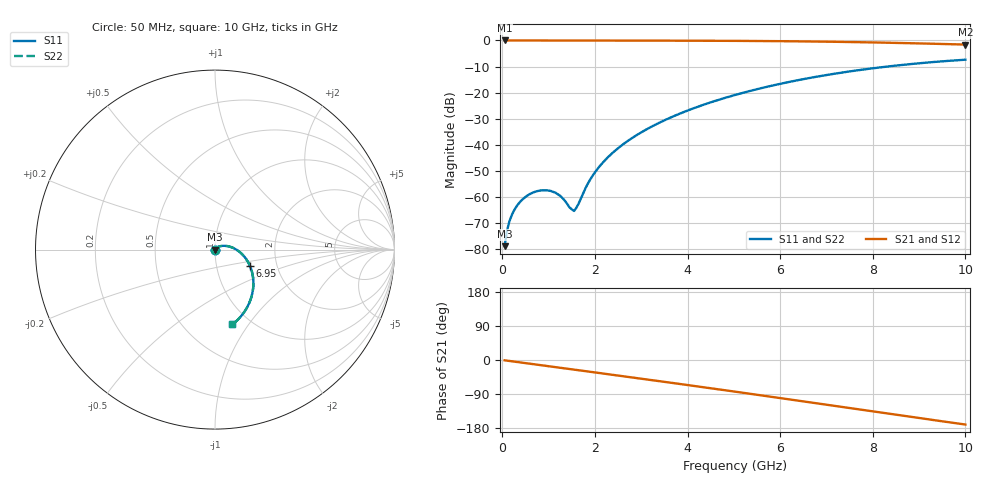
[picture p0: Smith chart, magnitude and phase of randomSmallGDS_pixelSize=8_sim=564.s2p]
! freq	dB(S11)	phase(S11)	dB(S12)	phase(S12)
!  dB(S21)	phase(S21)	dB(S22)	phase(S22)
!S-par simulation data
#  GHz  S  DB  R 50
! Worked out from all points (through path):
!   200 points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, 50 MHz to 10 GHz, reference 50 ohm
!   highest |S21| = 0.00 dB at 50 MHz (marker M1); lowest = -1.6 dB at 10 GHz (marker M2)
!   group delay of S21, straight-line fit = 47.5 ps
!   lowest |S11| = -78.7 dB at 50 MHz (marker M3), VSWR 1.00, Z = 50 - j0.0113 ohm
!   |S11| at or under -10 dB: start of sweep to 8.308 GHz
!   |S22| runs from -78.7 to -7.4 dB; largest |S21 - S12| = 0
!   S11 on the Smith chart (normalised r, x): 50 MHz: 1.00, -0.00; 6.95 GHz: 1.45, -0.27; 10 GHz: 0.83, -0.84
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0.05  -78.73 -78.1  -0.00 -0.8  -0.00 -0.8  -78.73 -78.1
0.1  -72.90 -85.6  -0.00 -1.7  -0.00 -1.7  -72.90 -85.6
0.2  -67.03 -91.1  -0.00 -3.3  -0.00 -3.3  -67.03 -91.1
0.35  -62.49 -95.8  -0.01 -5.8  -0.01 -5.8  -62.49 -95.9
0.55  -59.28 -101.3  -0.01 -9.1  -0.01 -9.1  -59.28 -101.3
0.8  -57.50 -108.3  -0.02 -13.1  -0.02 -13.1  -57.49 -108.4
1.05  -57.61 -117.3  -0.02 -17.2  -0.02 -17.2  -57.61 -117.3
1.25  -59.45 -129.0  -0.02 -20.5  -0.02 -20.5  -59.45 -129.0
1.55  -65.27 158.5  -0.03 -25.4  -0.03 -25.4  -65.25 158.6
1.75  -58.30 94.9  -0.03 -28.7  -0.03 -28.7  -58.30 95.0
2  -50.48 73.7  -0.04 -32.8  -0.04 -32.8  -50.48 73.8
2.35  -43.53 61.1  -0.04 -38.5  -0.04 -38.5  -43.53 61.1
2.8  -37.38 50.2  -0.05 -46.0  -0.05 -46.0  -37.38 50.2
3.4  -31.41 38.2  -0.07 -56.0  -0.07 -56.0  -31.41 38.2
4.15  -25.83 24.5  -0.10 -68.6  -0.10 -68.6  -25.83 24.5
5.05  -20.74 8.5  -0.16 -83.9  -0.16 -83.9  -20.74 8.6
5.85  -17.19 -5.5  -0.25 -97.8  -0.25 -97.8  -17.19 -5.5
6.7  -14.15 -20.5  -0.40 -112.7  -0.40 -112.7  -14.15 -20.5
6.95  -13.38 -24.9  -0.45 -117.1  -0.45 -117.1  -13.38 -24.9
8.35  -9.91 -49.3  -0.87 -141.8  -0.87 -141.8  -9.91 -49.3
9.15  -8.50 -62.9  -1.19 -155.8  -1.19 -155.8  -8.50 -62.9
10  -7.37 -76.9  -1.57 -170.3  -1.57 -170.3  -7.37 -76.9
